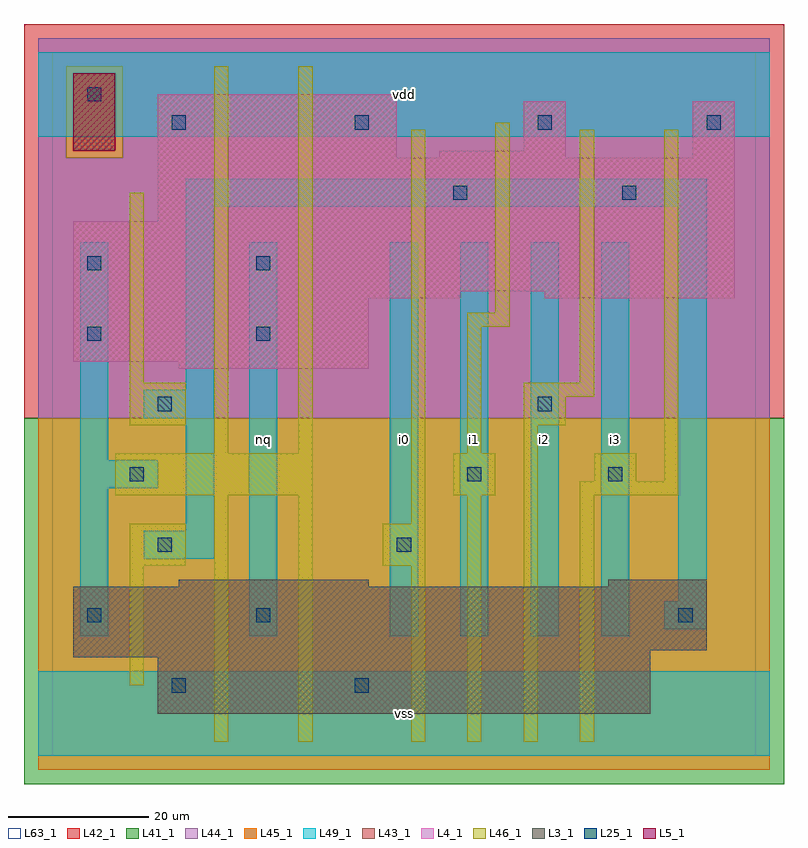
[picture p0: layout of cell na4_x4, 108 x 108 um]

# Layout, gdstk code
import gdstk
lib = gdstk.Library(unit=1e-6, precision=1e-09)
def R(c, l, rs):  # rectangles x0, y0, x1, y1
    for r in rs: c.add(gdstk.rectangle(r[:2], r[2:], *l))
def A(c, l, x, y, w, h, nx, ny, dx, dy):  # array of equal rectangles
    R(c, l, [(x+i*dx, y+j*dy, x+i*dx+w, y+j*dy+h) for i in range(nx) for j in range(ny)])
L3_1 = (3, 1)
L4_1 = (4, 1)
L5_1 = (5, 1)
L25_1 = (25, 1)
L41_1 = (41, 1)
L42_1 = (42, 1)
L43_1 = (43, 1)
L44_1 = (44, 1)
L45_1 = (45, 1)
L46_1 = (46, 1)
L49_1 = (49, 1)
L63_1 = (63, 1)

na4_x4 = lib.new_cell('na4_x4')
R(na4_x4, L3_1, [(15,6,85,14), (3,14,85,15), (3,15,93,24), (18,24,45,25), (79,24,93,25)])
R(na4_x4, L4_1, [(18,55,45,56), (3,56,45,65), (3,65,58,66), (70,65,97,66), (3,66,97,76), (15,76,97,85), (15,85,49,94), (55,85,73,86), (91,85,97,93), (67,86,73,93)])
R(na4_x4, L5_1, [(3,86,9,97)])
A(na4_x4, L25_1, 17, 89, 2, 2, 3, 1, 26, 0)
R(na4_x4, L25_1, [(17,9,19,11), (43,9,45,11), (5,19,7,21), (29,19,31,21), (89,19,91,21), (15,29,17,31), (49,29,51,31), (11,39,13,41), (59,39,61,41), (79,39,81,41), (15,49,17,51), (69,49,71,51), (5,59,7,61), (29,59,31,61), (5,69,7,71), (29,69,31,71), (57,79,59,81), (81,79,83,81), (93,89,95,91), (5,93,7,95)])
R(na4_x4, L41_1, [(-4,-4,104,48)])
R(na4_x4, L42_1, [(-4,48,104,104)])
R(na4_x4, L43_1, [(15,6,85,14), (3,14,85,15), (3,15,93,24), (18,24,45,25), (79,24,93,25), (18,55,45,56), (3,56,45,65), (3,65,58,66), (70,65,97,66), (3,66,97,76), (15,76,97,85), (15,85,49,94), (55,85,73,86), (91,85,97,93), (3,86,9,97), (67,86,73,93)])
R(na4_x4, L44_1, [(-2,48,102,85), (-2,85,2,98), (10,85,102,98), (-2,98,102,102)])
R(na4_x4, L45_1, [(-2,-2,102,48), (2,85,10,98)])
R(na4_x4, L46_1, [(23,2,25,37), (35,2,37,37), (51,2,53,27), (59,2,61,37), (67,2,69,47), (75,2,77,37), (11,10,13,27), (11,27,19,33), (47,27,53,33), (51,33,53,89), (9,37,37,43), (57,37,63,43), (75,37,89,39), (77,39,83,43), (87,39,89,89), (23,43,25,98), (35,43,37,98), (59,43,61,61), (11,47,19,53), (67,47,73,51), (67,51,77,53), (11,53,13,80), (75,53,77,89), (59,61,65,63), (63,63,65,90)])
A(na4_x4, L49_1, 48, 17, 4, 56, 4, 1, 10, 0)
R(na4_x4, L49_1, [(-2,0,102,12), (4,17,8,38), (28,17,32,73), (87,18,93,22), (89,22,93,78), (13,28,23,32), (19,32,23,48), (4,38,15,42), (4,42,8,73), (13,48,23,52), (19,52,23,78), (19,78,93,82), (-2,88,102,100)])
R(na4_x4, L63_1, [(0,0,100,100)])
na4_x4.add(gdstk.Label('nq', (30,45), layer=49, texttype=1))
na4_x4.add(gdstk.Label('vss', (50,6), layer=49, texttype=1))
na4_x4.add(gdstk.Label('i0', (50,45), layer=49, texttype=1))
na4_x4.add(gdstk.Label('i2', (70,45), layer=49, texttype=1))
na4_x4.add(gdstk.Label('i1', (60,45), layer=49, texttype=1))
na4_x4.add(gdstk.Label('vdd', (50,94), layer=49, texttype=1))
na4_x4.add(gdstk.Label('i3', (80,45), layer=49, texttype=1))

lib.write_gds('na4_x4.gds')
